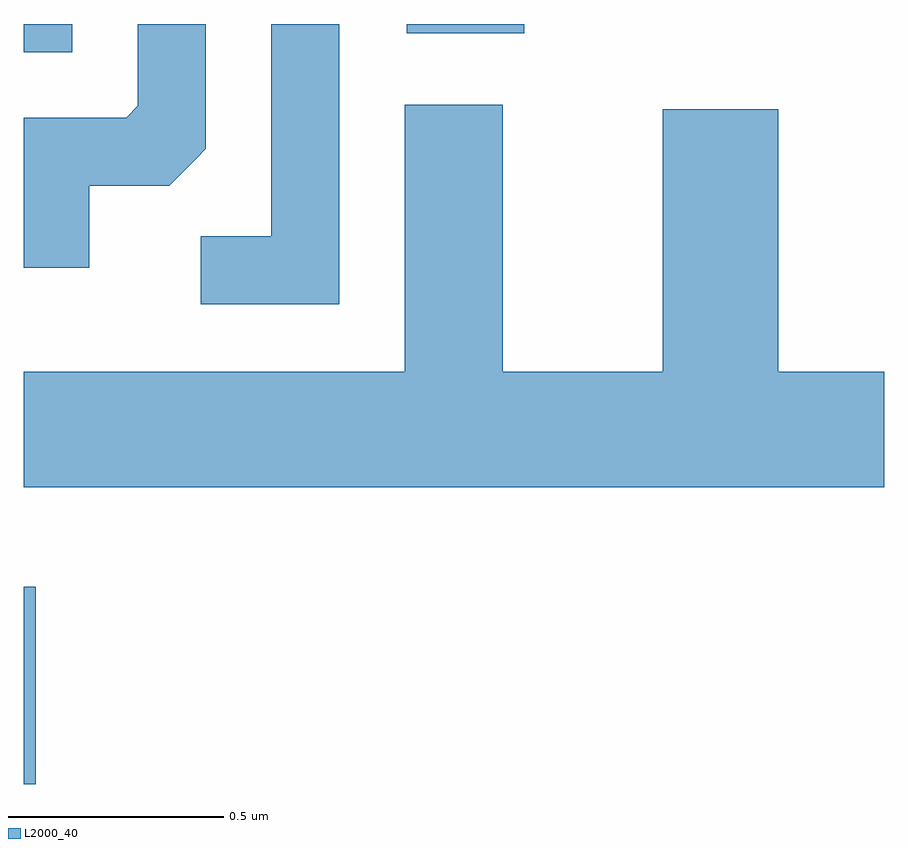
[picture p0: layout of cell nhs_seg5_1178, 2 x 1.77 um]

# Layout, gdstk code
import gdstk
lib = gdstk.Library(unit=1e-6, precision=1e-09)
def R(c, l, rs):  # rectangles x0, y0, x1, y1
    for r in rs: c.add(gdstk.rectangle(r[:2], r[2:], *l))
def P(c, l, *ps):  # polygons
    for p in ps: c.add(gdstk.Polygon(p, *l))
L2000_40 = (2000, 40)

nhs_seg5_1178 = lib.new_cell('nhs_seg5_1178')
R(nhs_seg5_1178, L2000_40, [(193.611,1478.306,193.639,1478.764), (193.611,1480.006,193.724,1480.072), (194.501,1480.051,194.774,1480.072)])
P(nhs_seg5_1178, L2000_40, [(194.344,1480.072),(194.186,1480.072),(194.186,1479.579),(194.023,1479.579),(194.023,1479.421),(194.344,1479.421)],
  [(193.764,1479.696),(193.949,1479.696),(194.013,1479.76),(194.034,1479.782),(194.034,1480.072),(193.876,1480.072),(193.876,1479.882),(193.849,1479.854),(193.611,1479.854),(193.611,1479.506),(193.764,1479.506)],
  [(195.611,1479.264),(195.364,1479.264),(195.364,1479.874),(195.096,1479.874),(195.096,1479.264),(194.724,1479.264),(194.724,1479.884),(194.496,1479.884),(194.496,1479.264),(193.611,1479.264),(193.611,1478.996),(195.611,1478.996)])

lib.write_gds('nhs_seg5_1178.gds')
